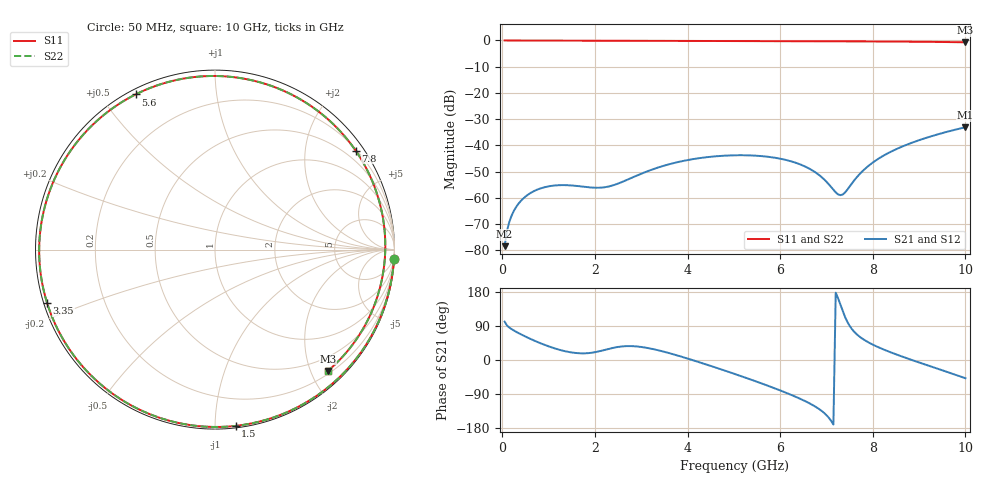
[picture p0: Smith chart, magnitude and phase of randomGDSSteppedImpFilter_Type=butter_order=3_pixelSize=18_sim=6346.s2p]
! freq	dB(S11)	phase(S11)	dB(S12)	phase(S12)
!  dB(S21)	phase(S21)	dB(S22)	phase(S22)
!S-par simulation data
#  GHz  S  DB  R 50
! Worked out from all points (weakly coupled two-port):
!   200 points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, 50 MHz to 10 GHz, reference 50 ohm
!   highest |S21| = -33.07 dB at 10 GHz (marker M1); lowest = -78.4 dB at 50 MHz (marker M2)
!   lowest |S11| = -0.7 dB at 10 GHz (marker M3), VSWR 24.97, Z = 12.5 - j114 ohm
!   |S11| at or under -10 dB: nowhere
!   |S22| runs from -0.7 to 0.0 dB; largest |S21 - S12| = 0
!   S11 on the Smith chart (normalised r, x): 50 MHz: 0, -40; 1.5 GHz: 0.01, -1.12; 3.35 GHz: 0.01, -0.16; 5.6 GHz: 0.02, +0.61; 7.8 GHz: 0.23, +3.14; 10 GHz: 0.25, -2.27
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0.05  -0.00 -2.9  -78.36 101.3  -78.36 101.3  -0.00 -2.9
0.1  -0.01 -5.8  -72.63 91.2  -72.63 91.2  -0.01 -5.8
0.2  -0.02 -11.7  -66.77 81.5  -66.77 81.5  -0.03 -11.7
0.45  -0.04 -26.4  -60.24 64.8  -60.24 64.8  -0.04 -26.4
1  -0.07 -57.4  -55.57 36.0  -55.57 36.0  -0.07 -57.4
1.5  -0.10 -83.3  -55.24 19.8  -55.24 19.8  -0.10 -83.4
1.75  -0.11 -95.5  -55.71 17.5  -55.71 17.5  -0.11 -95.5
2.15  -0.12 -113.8  -56.04 24.6  -56.04 24.6  -0.12 -113.8
2.55  -0.14 -130.9  -54.18 35.3  -54.18 35.3  -0.14 -130.9
3.35  -0.16 -162.3  -48.48 26.2  -48.48 26.2  -0.16 -162.3
3.4  -0.16 -164.2  -48.20 24.7  -48.20 24.7  -0.16 -164.2
4.2  -0.19 166.8  -44.97 -3.8  -44.97 -3.8  -0.19 166.8
5.05  -0.23 136.7  -43.73 -38.1  -43.73 -38.1  -0.23 136.7
5.6  -0.25 117.1  -44.06 -61.8  -44.06 -61.8  -0.25 117.1
6.2  -0.28 95.3  -45.86 -90.1  -45.86 -90.1  -0.28 95.3
6.7  -0.31 76.8  -49.54 -118.7  -49.54 -118.7  -0.31 76.8
7.3  -0.34 54.2  -58.94 146.4  -58.94 146.4  -0.34 54.1
7.4  -0.34 50.4  -57.92 113.9  -57.92 113.9  -0.34 50.3
7.8  -0.37 35.1  -49.42 54.3  -49.42 54.3  -0.37 35.1
8.35  -0.42 14.2  -42.75 22.0  -42.75 22.0  -0.42 14.2
9.15  -0.52 -15.9  -37.12 -12.7  -37.12 -12.7  -0.52 -15.9
10  -0.70 -47.0  -33.07 -48.2  -33.07 -48.2  -0.70 -47.1
